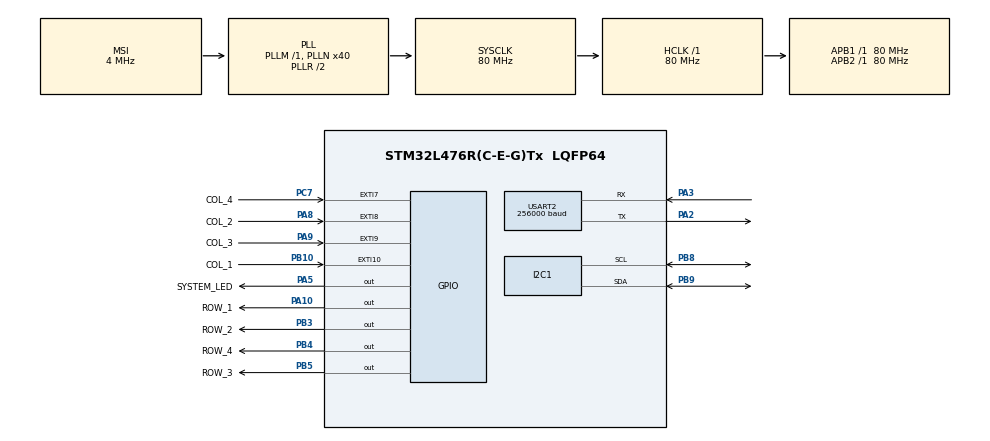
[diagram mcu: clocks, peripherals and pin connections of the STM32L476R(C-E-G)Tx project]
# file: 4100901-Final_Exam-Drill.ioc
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I2C1.Timing=0x10909CEC
Mcu.Family=STM32L4
Mcu.Name=STM32L476R(C-E-G)Tx
Mcu.Package=LQFP64
NVIC.EXTI15_10_IRQn=true\:0\:0\:false\:false\:true\:true\:true\:true
NVIC.EXTI9_5_IRQn=true\:0\:0\:false\:false\:true\:true\:true\:true
NVIC.PriorityGroup=NVIC_PRIORITYGROUP_4
NVIC.USART2_IRQn=true\:0\:0\:false\:false\:true\:true\:true\:true
PA10.GPIO_Label=ROW_1
PA10.PinState=GPIO_PIN_SET
PA10.Signal=GPIO_Output
PA2.Mode=Asynchronous
PA2.Signal=USART2_TX
PA3.Mode=Asynchronous
PA3.Signal=USART2_RX
PA5.GPIO_Label=SYSTEM_LED
PA5.Signal=GPIO_Output
PA8.GPIO_Label=COL_2
PA8.GPIO_ModeDefaultEXTI=GPIO_MODE_IT_RISING
PA8.GPIO_PuPd=GPIO_PULLDOWN
PA8.Signal=GPXTI8
PA9.GPIO_Label=COL_3
PA9.GPIO_ModeDefaultEXTI=GPIO_MODE_IT_RISING
PA9.GPIO_PuPd=GPIO_PULLDOWN
PA9.Signal=GPXTI9
PB10.GPIO_Label=COL_1
PB10.GPIO_ModeDefaultEXTI=GPIO_MODE_IT_RISING
PB10.GPIO_PuPd=GPIO_PULLDOWN
PB10.Signal=GPXTI10
PB3\ (JTDO-TRACESWO).GPIO_Label=ROW_2
PB3\ (JTDO-TRACESWO).PinState=GPIO_PIN_SET
PB3\ (JTDO-TRACESWO).Signal=GPIO_Output
PB4\ (NJTRST).GPIO_Label=ROW_4
PB4\ (NJTRST).PinState=GPIO_PIN_SET
PB4\ (NJTRST).Signal=GPIO_Output
PB5.GPIO_Label=ROW_3
PB5.PinState=GPIO_PIN_SET
PB5.Signal=GPIO_Output
PB8.Mode=I2C
PB8.Signal=I2C1_SCL
PB9.Mode=I2C
PB9.Signal=I2C1_SDA
PC7.GPIO_Label=COL_4
PC7.GPIO_ModeDefaultEXTI=GPIO_MODE_IT_RISING
PC7.GPIO_PuPd=GPIO_PULLDOWN
PC7.Signal=GPXTI7
ProjectManager.HeapSize=0x200
ProjectManager.StackSize=0x400
ProjectManager.TargetToolchain=STM32CubeIDE
RCC.AHBFreq_Value=80000000
RCC.APB1Freq_Value=80000000
RCC.APB1TimFreq_Value=80000000
RCC.APB2Freq_Value=80000000
RCC.APB2TimFreq_Value=80000000
RCC.CortexFreq_Value=80000000
RCC.HCLKFreq_Value=80000000
RCC.HSE_VALUE=8000000
RCC.HSI_VALUE=16000000
RCC.LSE_VALUE=32768
RCC.MSI_VALUE=4000000
RCC.PLLN=40
RCC.SYSCLKFreq_VALUE=80000000
RCC.SYSCLKSource=RCC_SYSCLKSOURCE_PLLCLK
RCC.VCOOutputFreq_Value=160000000
USART2.BaudRate=256000
USART2.VirtualMode-Asynchronous=VM_ASYNC
board=custom

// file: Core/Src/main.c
/* USER CODE BEGIN Header */
/**
  ******************************************************************************
  * @file           : main.c
  * @brief          : Main program body
  ******************************************************************************
  * @attention
  *
  * Copyright (c) 2024 STMicroelectronics.
  * All rights reserved.
  *
  * This software is licensed under terms that can be found in the LICENSE file
  * in the root directory of this software component.
  * If no LICENSE file comes with this software, it is provided AS-IS.
  *
  ******************************************************************************
  */
/* USER CODE END Header */
#include "main.h"

/* USER CODE BEGIN Includes */
#include <stdio.h>
#include "sys_stat.h"
#include "keypad.h"
#include "control.h"
/* USER CODE END Includes */

I2C_HandleTypeDef hi2c1;

UART_HandleTypeDef huart2;

/* USER CODE BEGIN PV */
uint8_t state;
/* USER CODE END PV */

void SystemClock_Config(void);
static void MX_GPIO_Init(void);
static void MX_USART2_UART_Init(void);
static void MX_I2C1_Init(void);

/* USER CODE BEGIN 0 */
int _write(int file, char *ptr, int len)
{
  // to using printf
  HAL_UART_Transmit(&huart2, (uint8_t *)ptr, len, 10);
  return len;
}

void HAL_GPIO_EXTI_Callback(uint16_t GPIO_Pin){
	uint8_t key_pressed = keypad_scan(GPIO_Pin);
	if(key_pressed == '#'){
		state = compare();
	}else{
		digits(key_pressed);
	}
}
/* USER CODE END 0 */

int main(void)
{

  /* MCU Configuration--------------------------------------------------------*/

  /* Reset of all peripherals, Initializes the Flash interface and the Systick. */
  HAL_Init();

  /* Configure the system clock */
  SystemClock_Config();

  /* Initialize all configured peripherals */
  MX_GPIO_Init();
  MX_USART2_UART_Init();
  MX_I2C1_Init();
  /* USER CODE BEGIN 2 */
  ssd1306_Init();
  ssd1306_SetCursor(10,30);

//  HAL_GPIO_WritePin(SYSTEM_LED_GPIO_Port, SYSTEM_LED_Pin, 1);
  /* USER CODE END 2 */

  /* Infinite loop */
  /* USER CODE BEGIN WHILE */
  while (1)
  {
	  if(state == 0 || state == 1){
		  sys_stat(state);
		  HAL_GPIO_WritePin(SYSTEM_LED_GPIO_Port, SYSTEM_LED_Pin, 0);  // LED OFF
	  }
	  state = 0xFF;
    /* USER CODE END WHILE */

  }
}

void SystemClock_Config(void)
{
  RCC_OscInitTypeDef RCC_OscInitStruct = {0};
  RCC_ClkInitTypeDef RCC_ClkInitStruct = {0};

  /** Configure the main internal regulator output voltage
  */
  if (HAL_PWREx_ControlVoltageScaling(PWR_REGULATOR_VOLTAGE_SCALE1) != HAL_OK)
  {
    Error_Handler();
  }

  /** Initializes the RCC Oscillators according to the specified parameters
  * in the RCC_OscInitTypeDef structure.
  */
  RCC_OscInitStruct.OscillatorType = RCC_OSCILLATORTYPE_MSI;
  RCC_OscInitStruct.MSIState = RCC_MSI_ON;
  RCC_OscInitStruct.MSICalibrationValue = 0;
  RCC_OscInitStruct.MSIClockRange = RCC_MSIRANGE_6;
  RCC_OscInitStruct.PLL.PLLState = RCC_PLL_ON;
  RCC_OscInitStruct.PLL.PLLSource = RCC_PLLSOURCE_MSI;
  RCC_OscInitStruct.PLL.PLLM = 1;
  RCC_OscInitStruct.PLL.PLLN = 40;
  RCC_OscInitStruct.PLL.PLLP = RCC_PLLP_DIV7;
  RCC_OscInitStruct.PLL.PLLQ = RCC_PLLQ_DIV2;
  RCC_OscInitStruct.PLL.PLLR = RCC_PLLR_DIV2;
  if (HAL_RCC_OscConfig(&RCC_OscInitStruct) != HAL_OK)
  {
    Error_Handler();
  }

  /** Initializes the CPU, AHB and APB buses clocks
  */
  RCC_ClkInitStruct.ClockType = RCC_CLOCKTYPE_HCLK|RCC_CLOCKTYPE_SYSCLK
                              |RCC_CLOCKTYPE_PCLK1|RCC_CLOCKTYPE_PCLK2;
  RCC_ClkInitStruct.SYSCLKSource = RCC_SYSCLKSOURCE_PLLCLK;
  RCC_ClkInitStruct.AHBCLKDivider = RCC_SYSCLK_DIV1;
  RCC_ClkInitStruct.APB1CLKDivider = RCC_HCLK_DIV1;
  RCC_ClkInitStruct.APB2CLKDivider = RCC_HCLK_DIV1;

  if (HAL_RCC_ClockConfig(&RCC_ClkInitStruct, FLASH_LATENCY_4) != HAL_OK)
  {
    Error_Handler();
  }
}

static void MX_I2C1_Init(void)
{

  hi2c1.Instance = I2C1;
  hi2c1.Init.Timing = 0x10909CEC;
  hi2c1.Init.OwnAddress1 = 0;
  hi2c1.Init.AddressingMode = I2C_ADDRESSINGMODE_7BIT;
  hi2c1.Init.DualAddressMode = I2C_DUALADDRESS_DISABLE;
  hi2c1.Init.OwnAddress2 = 0;
  hi2c1.Init.OwnAddress2Masks = I2C_OA2_NOMASK;
  hi2c1.Init.GeneralCallMode = I2C_GENERALCALL_DISABLE;
  hi2c1.Init.NoStretchMode = I2C_NOSTRETCH_DISABLE;
  if (HAL_I2C_Init(&hi2c1) != HAL_OK)
  {
    Error_Handler();
  }

  /** Configure Analogue filter
  */
  if (HAL_I2CEx_ConfigAnalogFilter(&hi2c1, I2C_ANALOGFILTER_ENABLE) != HAL_OK)
  {
    Error_Handler();
  }

  /** Configure Digital filter
  */
  if (HAL_I2CEx_ConfigDigitalFilter(&hi2c1, 0) != HAL_OK)
  {
    Error_Handler();
  }

}

static void MX_USART2_UART_Init(void)
{

  huart2.Instance = USART2;
  huart2.Init.BaudRate = 256000;
  huart2.Init.WordLength = UART_WORDLENGTH_8B;
  huart2.Init.StopBits = UART_STOPBITS_1;
  huart2.Init.Parity = UART_PARITY_NONE;
  huart2.Init.Mode = UART_MODE_TX_RX;
  huart2.Init.HwFlowCtl = UART_HWCONTROL_NONE;
  huart2.Init.OverSampling = UART_OVERSAMPLING_16;
  huart2.Init.OneBitSampling = UART_ONE_BIT_SAMPLE_DISABLE;
  huart2.AdvancedInit.AdvFeatureInit = UART_ADVFEATURE_NO_INIT;
  if (HAL_UART_Init(&huart2) != HAL_OK)
  {
    Error_Handler();
  }

}

static void MX_GPIO_Init(void)
{
  GPIO_InitTypeDef GPIO_InitStruct = {0};

  /* GPIO Ports Clock Enable */
  __HAL_RCC_GPIOA_CLK_ENABLE();
  __HAL_RCC_GPIOB_CLK_ENABLE();
  __HAL_RCC_GPIOC_CLK_ENABLE();

  /*Configure GPIO pin Output Level */
  HAL_GPIO_WritePin(SYSTEM_LED_GPIO_Port, SYSTEM_LED_Pin, GPIO_PIN_RESET);

  /*Configure GPIO pin Output Level */
  HAL_GPIO_WritePin(ROW_1_GPIO_Port, ROW_1_Pin, GPIO_PIN_SET);

  /*Configure GPIO pin Output Level */
  HAL_GPIO_WritePin(GPIOB, ROW_2_Pin|ROW_4_Pin|ROW_3_Pin, GPIO_PIN_SET);

  /*Configure GPIO pins : SYSTEM_LED_Pin ROW_1_Pin */
  GPIO_InitStruct.Pin = SYSTEM_LED_Pin|ROW_1_Pin;
  GPIO_InitStruct.Mode = GPIO_MODE_OUTPUT_PP;
  GPIO_InitStruct.Pull = GPIO_NOPULL;
  GPIO_InitStruct.Speed = GPIO_SPEED_FREQ_LOW;
  HAL_GPIO_Init(GPIOA, &GPIO_InitStruct);

  /*Configure GPIO pin : COL_1_Pin */
  GPIO_InitStruct.Pin = COL_1_Pin;
  GPIO_InitStruct.Mode = GPIO_MODE_IT_RISING;
  GPIO_InitStruct.Pull = GPIO_PULLDOWN;
  HAL_GPIO_Init(COL_1_GPIO_Port, &GPIO_InitStruct);

  /*Configure GPIO pin : COL_4_Pin */
  GPIO_InitStruct.Pin = COL_4_Pin;
  GPIO_InitStruct.Mode = GPIO_MODE_IT_RISING;
  GPIO_InitStruct.Pull = GPIO_PULLDOWN;
  HAL_GPIO_Init(COL_4_GPIO_Port, &GPIO_InitStruct);

  /*Configure GPIO pins : COL_2_Pin COL_3_Pin */
  GPIO_InitStruct.Pin = COL_2_Pin|COL_3_Pin;
  GPIO_InitStruct.Mode = GPIO_MODE_IT_RISING;
  GPIO_InitStruct.Pull = GPIO_PULLDOWN;
  HAL_GPIO_Init(GPIOA, &GPIO_InitStruct);

  /*Configure GPIO pins : ROW_2_Pin ROW_4_Pin ROW_3_Pin */
  GPIO_InitStruct.Pin = ROW_2_Pin|ROW_4_Pin|ROW_3_Pin;
  GPIO_InitStruct.Mode = GPIO_MODE_OUTPUT_PP;
  GPIO_InitStruct.Pull = GPIO_NOPULL;
  GPIO_InitStruct.Speed = GPIO_SPEED_FREQ_LOW;
  HAL_GPIO_Init(GPIOB, &GPIO_InitStruct);

  /* EXTI interrupt init*/
  HAL_NVIC_SetPriority(EXTI9_5_IRQn, 0, 0);
  HAL_NVIC_EnableIRQ(EXTI9_5_IRQn);

  HAL_NVIC_SetPriority(EXTI15_10_IRQn, 0, 0);
  HAL_NVIC_EnableIRQ(EXTI15_10_IRQn);

}

void Error_Handler(void)
{
  __disable_irq();
  while (1)
  {
  }
}
